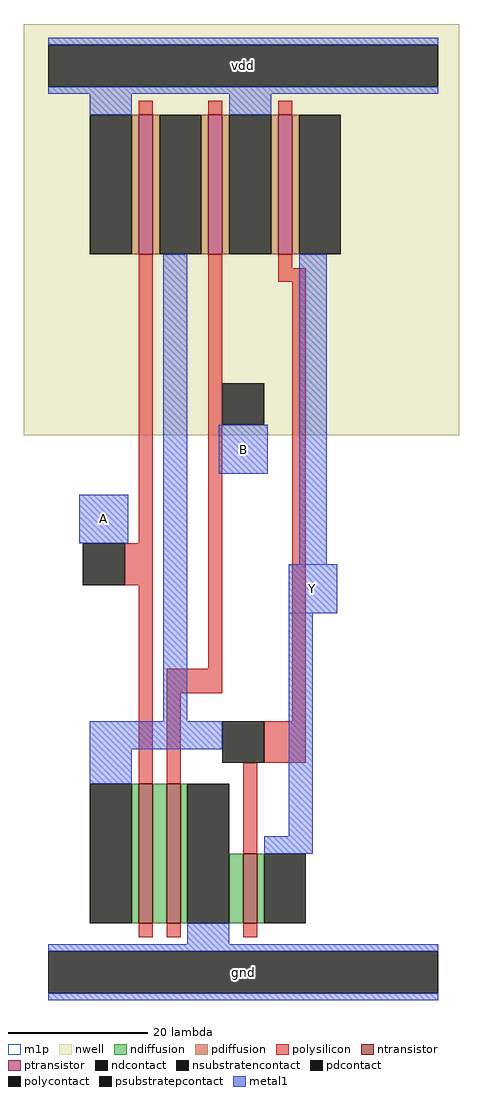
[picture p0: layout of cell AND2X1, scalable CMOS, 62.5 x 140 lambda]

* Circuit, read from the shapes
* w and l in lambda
.subckt AND2X1 A B Y vdd gnd
M1 n1 A n2 gnd nfet w=20 l=2
M2 gnd B n1 gnd nfet w=20 l=2
M3 Y n2 gnd gnd nfet w=10 l=2
M4 n2 A vdd vdd pfet w=20 l=2
M5 vdd B n2 vdd pfet w=20 l=2
M6 Y n2 vdd vdd pfet w=20 l=2
.ends

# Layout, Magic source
magic
tech scmos
magscale 1 2
<< nwell >>
rect -13 154 112 272
<< ntransistor >>
rect 20 14 24 54
rect 28 14 32 54
rect 50 14 54 34
<< ptransistor >>
rect 20 206 24 246
rect 40 206 44 246
rect 60 206 64 246
<< ndiffusion >>
rect 18 14 20 54
rect 24 14 28 54
rect 32 14 34 54
rect 46 14 50 34
rect 54 14 56 34
<< pdiffusion >>
rect 18 206 20 246
rect 24 206 26 246
rect 38 206 40 246
rect 44 206 46 246
rect 58 206 60 246
rect 64 206 66 246
<< ndcontact >>
rect 6 14 18 54
rect 34 14 46 54
rect 56 14 68 34
<< pdcontact >>
rect 6 206 18 246
rect 26 206 38 246
rect 46 206 58 246
rect 66 206 78 246
<< psubstratepcontact >>
rect -6 -6 106 6
<< nsubstratencontact >>
rect -6 254 106 266
<< polysilicon >>
rect 20 246 24 250
rect 40 246 44 250
rect 60 246 64 250
rect 20 123 24 206
rect 16 111 24 123
rect 20 54 24 111
rect 40 87 44 206
rect 60 202 64 206
rect 60 198 68 202
rect 28 80 44 87
rect 28 54 32 80
rect 64 72 68 198
rect 56 60 68 72
rect 50 34 54 60
rect 20 10 24 14
rect 28 10 32 14
rect 50 10 54 14
<< polycontact >>
rect 4 111 16 123
rect 44 157 56 169
rect 44 60 56 72
<< metal1 >>
rect -6 266 106 268
rect -6 252 106 254
rect 6 246 18 252
rect 46 246 58 252
rect 3 123 17 137
rect 27 72 34 206
rect 43 143 57 157
rect 66 117 74 206
rect 63 103 77 117
rect 6 64 44 72
rect 6 54 18 64
rect 63 39 70 103
rect 56 34 70 39
rect 34 8 46 14
rect -6 6 106 8
rect -6 -8 106 -6
<< m1p >>
rect 43 143 57 157
rect 3 123 17 137
rect 63 103 77 117
<< labels >>
rlabel metal1 -6 252 106 268 0 vdd
port 3 nsew power bidirectional abutment
rlabel metal1 -6 -8 106 8 0 gnd
port 4 nsew ground bidirectional abutment
rlabel metal1 43 143 57 157 0 B
port 1 nsew signal input
rlabel metal1 3 123 17 137 0 A
port 0 nsew signal input
rlabel metal1 63 103 77 117 0 Y
port 2 nsew signal output
<< properties >>
string FIXED_BBOX 0 0 100 260
string LEFclass CORE
string LEFsite core
string LEFsymmetry X Y
<< end >>
